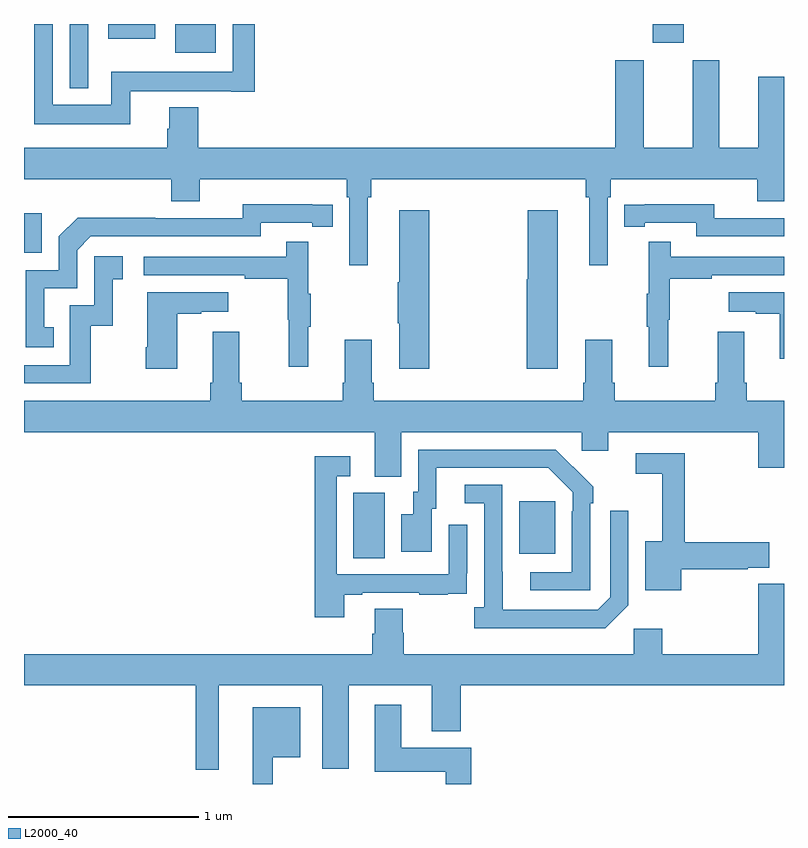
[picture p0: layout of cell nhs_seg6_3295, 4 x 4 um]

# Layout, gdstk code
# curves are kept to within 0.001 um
import gdstk
lib = gdstk.Library(unit=1e-6, precision=1e-09)
def R(c, l, rs):  # rectangles x0, y0, x1, y1
    for r in rs: c.add(gdstk.rectangle(r[:2], r[2:], *l))
def P(c, l, *ps):  # polygons
    for p in ps: c.add(gdstk.Polygon(p, *l))
L2000_40 = (2000, 40)

nhs_seg6_3295 = lib.new_cell('nhs_seg6_3295')
R(nhs_seg6_3295, L2000_40, [(306.734,930.688,306.898,931.032), (307.607,930.713,307.795,930.988), (305,932.295,305.094,932.503), (305.241,933.161,305.337,933.5), (305.795,933.35,306.01,933.5), (308.309,933.402,308.473,933.5), (305.444,933.422,305.692,933.5)])
P(nhs_seg6_3295, L2000_40, [(305.558,933.146),(306.092,933.146),(306.092,933.144),(306.215,933.144),(306.215,933.5),(306.099,933.5),(306.099,933.25),(305.46,933.25),(305.46,933.076),(305.151,933.076),(305.151,933.5),(305.054,933.5),(305.054,932.972),(305.558,932.972)],
  [(306.808,932.588),(306.827,932.588),(306.827,932.684),(307.957,932.684),(307.957,932.588),(307.976,932.588),(307.976,932.229),(308.073,932.229),(308.073,932.588),(308.087,932.588),(308.087,932.684),(308.858,932.684),(308.858,932.567),(309,932.567),(309,933.223),(308.864,933.223),(308.864,932.848),(308.659,932.848),(308.659,933.31),(308.519,933.31),(308.519,932.848),(308.263,932.848),(308.263,933.31),(308.111,933.31),(308.111,932.848),(305.918,932.848),(305.918,933.061),(305.765,933.061),(305.765,932.949),(305.753,932.949),(305.753,932.848),(305,932.848),(305,932.684),(305.774,932.684),(305.774,932.567),(305.926,932.567),(305.926,932.684),(306.698,932.684),(306.698,932.588),(306.711,932.588),(306.711,932.229),(306.808,932.229)],
  [(309,932.478),(308.634,932.478),(308.634,932.551),(308.266,932.551),(308.266,932.55),(308.158,932.55),(308.158,932.434),(308.266,932.434),(308.266,932.454),(308.538,932.454),(308.538,932.382),(309,932.382)],
  [(305.156,931.905),(305.107,931.905),(305.107,932.109),(305.28,932.109),(305.28,932.31),(305.352,932.382),(306.246,932.382),(306.246,932.454),(306.518,932.454),(306.518,932.434),(306.626,932.434),(306.626,932.55),(306.15,932.551),(306.15,932.478),(305.69,932.478),(305.69,932.48),(305.282,932.48),(305.184,932.382),(305.184,932.205),(305.01,932.205),(305.01,931.8),(305.156,931.8)],
  [(307.81,932.521),(307.652,932.521),(307.652,932.157),(307.646,932.157),(307.646,931.686),(307.81,931.686)],
  [(307.133,932.521),(306.974,932.521),(306.974,932.141),(306.967,932.141),(306.967,931.924),(306.974,931.924),(306.974,931.686),(307.133,931.686)],
  [(308.39,931.944),(308.398,931.944),(308.398,932.158),(308.621,932.158),(308.621,932.178),(309,932.178),(309,932.274),(308.405,932.274),(308.405,932.353),(308.288,932.353),(308.288,932.081),(308.277,932.081),(308.277,931.907),(308.288,931.907),(308.288,931.695),(308.39,931.695)],
  [(306.497,931.907),(306.508,931.907),(306.508,932.081),(306.497,932.081),(306.497,932.353),(306.379,932.353),(306.379,932.274),(305.631,932.274),(305.631,932.178),(306.163,932.178),(306.163,932.158),(306.387,932.158),(306.387,931.944),(306.394,931.944),(306.394,931.695),(306.497,931.695)],
  [(305.35,931.911),(305.468,931.911),(305.468,932.157),(305.521,932.157),(305.521,932.278),(305.37,932.278),(305.37,932.019),(305.241,932.019),(305.241,931.704),(305,931.704),(305,931.608),(305.35,931.608)],
  [(309,932.089),(308.709,932.089),(308.709,931.985),(308.852,931.985),(308.852,931.975),(308.978,931.975),(308.978,931.737),(309,931.737)],
  [(305.806,931.975),(305.933,931.975),(305.933,931.985),(306.076,931.985),(306.076,932.089),(305.648,932.089),(305.648,931.798),(305.641,931.798),(305.641,931.686),(305.806,931.686)],
  [(306.689,931.837),(306.689,931.612),(306.677,931.612),(306.677,931.516),(306.146,931.516),(306.146,931.612),(306.133,931.612),(306.133,931.879),(305.993,931.879),(305.993,931.612),(305.981,931.612),(305.981,931.516),(305,931.516),(305,931.352),(306.845,931.352),(306.845,931.117),(306.985,931.117),(306.985,931.352),(307.935,931.352),(307.935,931.254),(308.074,931.254),(308.074,931.352),(308.864,931.352),(308.864,931.164),(309,931.164),(309,931.516),(308.804,931.516),(308.804,931.612),(308.791,931.612),(308.791,931.879),(308.651,931.879),(308.651,931.612),(308.639,931.612),(308.639,931.516),(308.108,931.516),(308.108,931.612),(308.095,931.612),(308.095,931.837),(307.955,931.837),(307.955,931.612),(307.943,931.612),(307.943,931.516),(306.842,931.516),(306.842,931.612),(306.829,931.612),(306.829,931.837)],
  [(307.98,930.977),(307.995,930.977),(307.995,931.065),(307.798,931.26),(307.074,931.26),(307.074,931.038),(307.049,931.038),(307.049,930.919),(306.986,930.919),(306.986,930.723),(307.147,930.723),(307.147,930.948),(307.171,930.948),(307.171,931.164),(307.759,931.164),(307.887,931.035),(307.887,930.935),(307.884,930.935),(307.884,930.615),(307.665,930.615),(307.665,930.519),(307.98,930.519)],
  [(308.458,930.631),(308.81,930.631),(308.81,930.638),(308.923,930.638),(308.923,930.773),(308.477,930.773),(308.477,931.242),(308.22,931.242),(308.22,931.134),(308.36,931.134),(308.36,930.778),(308.27,930.778),(308.27,930.521),(308.458,930.521)],
  [(306.685,930.495),(306.781,930.495),(306.781,930.507),(307.081,930.507),(307.081,930.495),(307.229,930.495),(307.229,930.501),(307.331,930.501),(307.331,930.61),(307.332,930.61),(307.332,930.865),(307.236,930.865),(307.236,930.603),(306.645,930.603),(306.645,931.119),(306.718,931.119),(306.718,931.225),(306.529,931.225),(306.529,930.378),(306.685,930.378)],
  [(308.181,930.441),(308.181,930.937),(308.085,930.937),(308.085,930.483),(308.019,930.417),(307.519,930.417),(307.518,931.074),(307.32,931.074),(307.32,930.978),(307.422,930.978),(307.422,930.43),(307.371,930.43),(307.371,930.32),(308.06,930.32)],
  [(306.025,930.02),(306.569,930.02),(306.569,929.579),(306.709,929.579),(306.709,930.02),(307.145,930.02),(307.145,929.777),(307.298,929.777),(307.298,930.02),(309,930.02),(309,930.553),(308.864,930.553),(308.864,930.184),(308.36,930.184),(308.36,930.316),(308.208,930.316),(308.208,930.184),(306.998,930.184),(306.998,930.297),(306.993,930.297),(306.993,930.422),(306.845,930.422),(306.845,930.29),(306.833,930.29),(306.833,930.184),(305,930.184),(305,930.02),(305.904,930.02),(305.904,929.576),(306.025,929.576)],
  [(307.355,929.692),(306.985,929.692),(306.985,929.917),(306.845,929.917),(306.845,929.564),(307.22,929.564),(307.22,929.5),(307.355,929.5)],
  [(306.31,929.642),(306.454,929.642),(306.454,929.905),(306.203,929.905),(306.203,929.5),(306.31,929.5)])

lib.write_gds('nhs_seg6_3295.gds')
